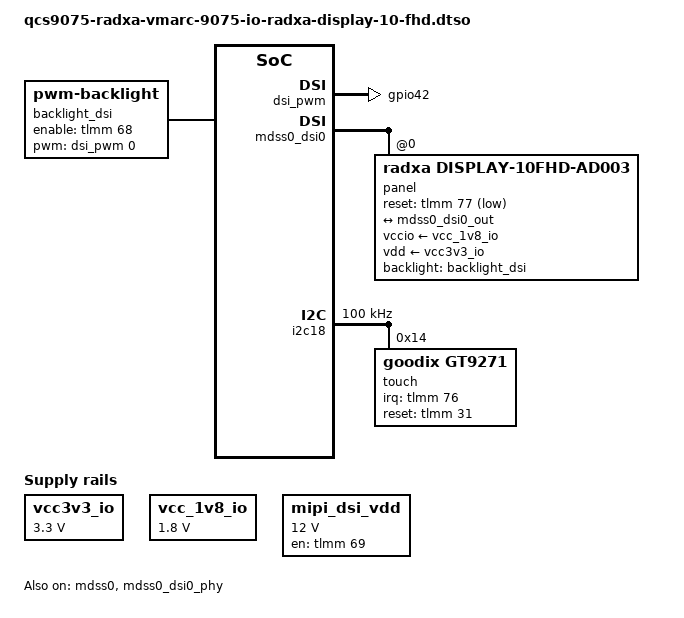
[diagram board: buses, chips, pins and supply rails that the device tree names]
// SPDX-License-Identifier: BSD-3-Clause
/*
 * Copyright (c) 2026 Radxa Computer (Shenzhen) Co., Ltd.
 */

/dts-v1/;
/plugin/;

#include <dt-bindings/gpio/gpio.h>
#include <dt-bindings/interrupt-controller/irq.h>
#include <dt-bindings/pinctrl/qcom,pmic-gpio.h>
#include <dt-bindings/pwm/pwm.h>

/ {
	metadata {
		title = "Enable Radxa Display 10FHD";
		compatible = "radxa,vmarc-q9075-io";
		category = "display";
		exclusive = "mdss0_dsi0", "gpio31", "gpio42", "gpio68", "gpio69", "gpio76", "gpio77";
		description = "Enable Radxa Display 10FHD.";
	};
};

&{/} {
	vcc3v3_io: vcc3v3-io-regulator {
		compatible = "regulator-fixed";
		regulator-name = "vcc3v3_io";
		regulator-min-microvolt = <3300000>;
		regulator-max-microvolt = <3300000>;
	};

	vcc_1v8_io: vcc-1v8-io-regulator {
		compatible = "regulator-fixed";
		regulator-name = "vcc_1v8_io";
		regulator-min-microvolt = <1800000>;
		regulator-max-microvolt = <1800000>;
	};

	mipi_dsi_vdd: mipi-dsi-vdd-regulator {
		compatible = "regulator-fixed";
		regulator-name = "mipi_dsi_vdd";
		gpio = <&tlmm 69 GPIO_ACTIVE_HIGH>;
		pinctrl-names = "default";
		pinctrl-0 = <&mipi_dsi_vdd_en>;
		regulator-min-microvolt = <12000000>;
		regulator-max-microvolt = <12000000>;
		enable-active-high;
		regulator-always-on;
	};

    dsi_pwm: dsi-pwm {
		compatible = "clk-pwm";
		#pwm-cells = <2>;

		clocks = <&gcc GCC_GP2_CLK>;

		pinctrl-0 = <&dsi_pwm_default>;
		pinctrl-names = "default";
    };

	backlight_dsi: backlight-dsi {
		compatible = "pwm-backlight";
		pwms = <&dsi_pwm 0 40000>; 
		brightness-levels = <0 255>;
		num-interpolated-steps = <255>;
		default-brightness-level = <250>;
		enable-gpios = <&tlmm 68 GPIO_ACTIVE_HIGH>;
		pinctrl-names = "default";
		pinctrl-0 = <&mipi_dsi_bl_en>;
	};
};

&mdss0 {
	status = "okay";
};

&mdss0_dsi0_phy {
	vdds-supply = <&vreg_l4a>;
	status = "okay";
};

&mdss0_dsi0 {
	vdda-supply = <&vreg_l1c>;
	status = "okay";
	#address-cells = <1>;
	#size-cells = <0>;

	panel: panel@0 {
		compatible = "radxa,display-10fhd-ad003";
		reg = <0>;
		backlight = <&backlight_dsi>;
		vccio-supply = <&vcc_1v8_io>;
		vdd-supply = <&vcc3v3_io>;
		reset-gpios = <&tlmm 77 GPIO_ACTIVE_LOW>;
		pinctrl-names = "default";
		pinctrl-0 = <&lcd_panel_reset>;

		port {
			panel0_in: endpoint {
				remote-endpoint = <&mdss0_dsi0_out>;
			};
		};
	};
};

&mdss0_dsi0_out {
	remote-endpoint = <&panel0_in>;
	data-lanes = <0 1 2 3>;
};

&i2c18 {
	clock-frequency = <100000>;
	#address-cells = <1>;
	#size-cells = <0>;

	status = "okay";

	touch@14 {
		#gpio-cells = <2>;
		compatible = "goodix,gt9271";
		reg = <0x14>;
		interrupt-parent = <&tlmm>;
		interrupts = <76 IRQ_TYPE_LEVEL_HIGH>;
		irq-gpios = <&tlmm 76 GPIO_ACTIVE_HIGH>;
		reset-gpios = <&tlmm 31 GPIO_ACTIVE_HIGH>;
		pinctrl-names = "default";
		pinctrl-0 = <&ts_int_conn>, <&ts_rst_conn>;
	};
};

&tlmm {
    dsi_pwm_default: dsi-pwm-default {
        pins = "gpio42";
        function = "gcc_gp5";
    };

	mipi_dsi_bl_en: mipi-dsi-bl-en-state {
		pins = "gpio68";
		function = "gpio";
		drive-strength = <2>;
		output-high;
		bias-pull-up;
	};

	mipi_dsi_vdd_en: mipi-dsi-vdd-en-state {
		pins = "gpio69";
		function = "gpio";
		drive-strength = <2>;
		output-high;
		bias-pull-up;
	};

	lcd_panel_reset: lcd-panel-reset {
		pins = "gpio77";
		function = "gpio";
		drive-strength = <8>;
		bias-disable;
	};

	ts_int_conn: ts-int-conn-state {
		pins = "gpio76";
		function = "gpio";
		bias-disable;
	};

	ts_rst_conn: ts-rst-conn-state {
		pins = "gpio31";
		function = "gpio";
		drive-strength = <2>;
		bias-disable;
	};
};
